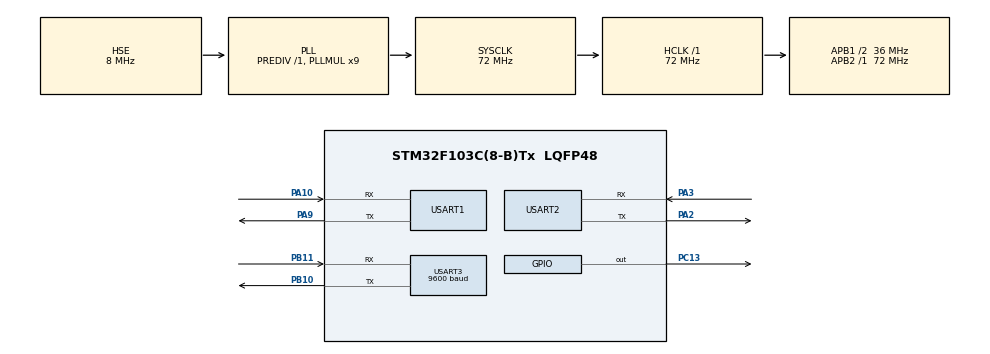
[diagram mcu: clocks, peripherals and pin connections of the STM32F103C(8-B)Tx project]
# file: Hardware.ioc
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Mcu.Family=STM32F1
Mcu.Name=STM32F103C(8-B)Tx
Mcu.Package=LQFP48
NVIC.PriorityGroup=NVIC_PRIORITYGROUP_4
NVIC.USART1_IRQn=true\:0\:0\:false\:false\:true\:true\:true\:true
NVIC.USART2_IRQn=true\:0\:0\:false\:false\:true\:true\:true\:true
NVIC.USART3_IRQn=true\:0\:0\:false\:false\:true\:true\:true\:true
PA10.Mode=Asynchronous
PA10.Signal=USART1_RX
PA13.Mode=Serial_Wire
PA13.Signal=SYS_JTMS-SWDIO
PA14.Mode=Serial_Wire
PA14.Signal=SYS_JTCK-SWCLK
PA2.Mode=Asynchronous
PA2.Signal=USART2_TX
PA3.Mode=Asynchronous
PA3.Signal=USART2_RX
PA9.Mode=Asynchronous
PA9.Signal=USART1_TX
PB10.Mode=Asynchronous
PB10.Signal=USART3_TX
PB11.Mode=Asynchronous
PB11.Signal=USART3_RX
PC13-TAMPER-RTC.Signal=GPIO_Output
PD0-OSC_IN.Mode=HSE-External-Oscillator
PD0-OSC_IN.Signal=RCC_OSC_IN
PD1-OSC_OUT.Mode=HSE-External-Oscillator
PD1-OSC_OUT.Signal=RCC_OSC_OUT
ProjectManager.HeapSize=0x200
ProjectManager.StackSize=0x400
ProjectManager.TargetToolchain=STM32CubeIDE
RCC.AHBFreq_Value=72000000
RCC.APB1CLKDivider=RCC_HCLK_DIV2
RCC.APB1Freq_Value=36000000
RCC.APB1TimFreq_Value=72000000
RCC.APB2Freq_Value=72000000
RCC.APB2TimFreq_Value=72000000
RCC.HCLKFreq_Value=72000000
RCC.PLLMUL=RCC_PLL_MUL9
RCC.PLLSourceVirtual=RCC_PLLSOURCE_HSE
RCC.SYSCLKFreq_VALUE=72000000
RCC.SYSCLKSource=RCC_SYSCLKSOURCE_PLLCLK
RCC.USBFreq_Value=72000000
USART1.VirtualMode=VM_ASYNC
USART2.VirtualMode=VM_ASYNC
USART3.BaudRate=9600
USART3.VirtualMode=VM_ASYNC
board=custom

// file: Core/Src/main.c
/* USER CODE BEGIN Header */
/**
  ******************************************************************************
  * @file           : main.c
  * @brief          : Main program body
  ******************************************************************************
  * @attention
  *
  * Copyright (c) 2025 STMicroelectronics.
  * All rights reserved.
  *
  * This software is licensed under terms that can be found in the LICENSE file
  * in the root directory of this software component.
  * If no LICENSE file comes with this software, it is provided AS-IS.
  *
  ******************************************************************************
  */
/* USER CODE END Header */
#include "main.h"

/* USER CODE BEGIN Includes */
#include "ESP8266_HAL.h"
#include "stdio.h"
/* USER CODE END Includes */

UART_HandleTypeDef huart1;
UART_HandleTypeDef huart2;
UART_HandleTypeDef huart3;

void SystemClock_Config(void);
static void MX_GPIO_Init(void);
static void MX_USART1_UART_Init(void);
static void MX_USART2_UART_Init(void);
static void MX_USART3_UART_Init(void);

/* USER CODE BEGIN 0 */
char msg[] = "hello world\r\n";
/* USER CODE END 0 */

int main(void)
{

  /* USER CODE BEGIN 1 */
	char json_data[] = "{"
	    "\"Sender\": \"+989123456789\","
	    "\"Message\": \"Test\""
	"}";

	char path[256];
  /* USER CODE END 1 */

  /* MCU Configuration--------------------------------------------------------*/

  /* Reset of all peripherals, Initializes the Flash interface and the Systick. */
  HAL_Init();

  /* Configure the system clock */
  SystemClock_Config();

  /* Initialize all configured peripherals */
  MX_GPIO_Init();
  MX_USART1_UART_Init();
  MX_USART2_UART_Init();
  MX_USART3_UART_Init();
  /* USER CODE BEGIN 2 */
  HAL_GPIO_TogglePin(GPIOC, GPIO_PIN_13);
  HAL_Delay(200); //
  HAL_GPIO_TogglePin(GPIOC, GPIO_PIN_13);
  HAL_Delay(200); //
  HAL_GPIO_TogglePin(GPIOC, GPIO_PIN_13);
  HAL_Delay(200); //
  HAL_GPIO_TogglePin(GPIOC, GPIO_PIN_13);
  HAL_Delay(200); //
  HAL_GPIO_TogglePin(GPIOC, GPIO_PIN_13);
  HAL_Delay(200); //
  HAL_GPIO_TogglePin(GPIOC, GPIO_PIN_13);
  HAL_Delay(200); //
  HAL_GPIO_TogglePin(GPIOC, GPIO_PIN_13);
  HAL_Delay(200); //
  HAL_GPIO_TogglePin(GPIOC, GPIO_PIN_13);
  HAL_Delay(200); //

  HAL_UART_Transmit(&huart2, "Check\r\n",7, HAL_MAX_DELAY);

  ESP_Init("Lightning", "dead43hunter");
  HAL_Delay(2000);
  /* USER CODE END 2 */

  /* Infinite loop */
  /* USER CODE BEGIN WHILE */
  while (1)
  {
	  HTTP_GET_Request("192.168.1.8", 8000, "/api/Receive?input=5");
      HAL_Delay(1000);

	    // ارسال POST به: http://192.168.1.3:8000/api/receive
	  //HTTP_POST_Request("192.168.1.3", 8000, "/api/Receive", json_data);
	  sprintf(path,
	      "/api/receive?Sender=989333333333&Message=Khoobi&SignalQuality=100");

	  HTTP_POST_Request("192.168.1.8", 8000, path); // بدنه خالی!
	  HAL_Delay(1000);

	  HAL_GPIO_TogglePin(GPIOC, GPIO_PIN_13);
	  HAL_Delay(1000);
    /* USER CODE END WHILE */

  }
}

void SystemClock_Config(void)
{
  RCC_OscInitTypeDef RCC_OscInitStruct = {0};
  RCC_ClkInitTypeDef RCC_ClkInitStruct = {0};

  /** Initializes the RCC Oscillators according to the specified parameters
  * in the RCC_OscInitTypeDef structure.
  */
  RCC_OscInitStruct.OscillatorType = RCC_OSCILLATORTYPE_HSE;
  RCC_OscInitStruct.HSEState = RCC_HSE_ON;
  RCC_OscInitStruct.HSEPredivValue = RCC_HSE_PREDIV_DIV1;
  RCC_OscInitStruct.HSIState = RCC_HSI_ON;
  RCC_OscInitStruct.PLL.PLLState = RCC_PLL_ON;
  RCC_OscInitStruct.PLL.PLLSource = RCC_PLLSOURCE_HSE;
  RCC_OscInitStruct.PLL.PLLMUL = RCC_PLL_MUL9;
  if (HAL_RCC_OscConfig(&RCC_OscInitStruct) != HAL_OK)
  {
    Error_Handler();
  }

  /** Initializes the CPU, AHB and APB buses clocks
  */
  RCC_ClkInitStruct.ClockType = RCC_CLOCKTYPE_HCLK|RCC_CLOCKTYPE_SYSCLK
                              |RCC_CLOCKTYPE_PCLK1|RCC_CLOCKTYPE_PCLK2;
  RCC_ClkInitStruct.SYSCLKSource = RCC_SYSCLKSOURCE_PLLCLK;
  RCC_ClkInitStruct.AHBCLKDivider = RCC_SYSCLK_DIV1;
  RCC_ClkInitStruct.APB1CLKDivider = RCC_HCLK_DIV2;
  RCC_ClkInitStruct.APB2CLKDivider = RCC_HCLK_DIV1;

  if (HAL_RCC_ClockConfig(&RCC_ClkInitStruct, FLASH_LATENCY_2) != HAL_OK)
  {
    Error_Handler();
  }
}

static void MX_USART1_UART_Init(void)
{

  huart1.Instance = USART1;
  huart1.Init.BaudRate = 115200;
  huart1.Init.WordLength = UART_WORDLENGTH_8B;
  huart1.Init.StopBits = UART_STOPBITS_1;
  huart1.Init.Parity = UART_PARITY_NONE;
  huart1.Init.Mode = UART_MODE_TX_RX;
  huart1.Init.HwFlowCtl = UART_HWCONTROL_NONE;
  huart1.Init.OverSampling = UART_OVERSAMPLING_16;
  if (HAL_UART_Init(&huart1) != HAL_OK)
  {
    Error_Handler();
  }

}

static void MX_USART2_UART_Init(void)
{

  huart2.Instance = USART2;
  huart2.Init.BaudRate = 115200;
  huart2.Init.WordLength = UART_WORDLENGTH_8B;
  huart2.Init.StopBits = UART_STOPBITS_1;
  huart2.Init.Parity = UART_PARITY_NONE;
  huart2.Init.Mode = UART_MODE_TX_RX;
  huart2.Init.HwFlowCtl = UART_HWCONTROL_NONE;
  huart2.Init.OverSampling = UART_OVERSAMPLING_16;
  if (HAL_UART_Init(&huart2) != HAL_OK)
  {
    Error_Handler();
  }

}

static void MX_USART3_UART_Init(void)
{

  huart3.Instance = USART3;
  huart3.Init.BaudRate = 9600;
  huart3.Init.WordLength = UART_WORDLENGTH_8B;
  huart3.Init.StopBits = UART_STOPBITS_1;
  huart3.Init.Parity = UART_PARITY_NONE;
  huart3.Init.Mode = UART_MODE_TX_RX;
  huart3.Init.HwFlowCtl = UART_HWCONTROL_NONE;
  huart3.Init.OverSampling = UART_OVERSAMPLING_16;
  if (HAL_UART_Init(&huart3) != HAL_OK)
  {
    Error_Handler();
  }

}

static void MX_GPIO_Init(void)
{
  GPIO_InitTypeDef GPIO_InitStruct = {0};

  /* GPIO Ports Clock Enable */
  __HAL_RCC_GPIOC_CLK_ENABLE();
  __HAL_RCC_GPIOD_CLK_ENABLE();
  __HAL_RCC_GPIOA_CLK_ENABLE();
  __HAL_RCC_GPIOB_CLK_ENABLE();

  /*Configure GPIO pin Output Level */
  HAL_GPIO_WritePin(GPIOC, GPIO_PIN_13, GPIO_PIN_RESET);

  /*Configure GPIO pin : PC13 */
  GPIO_InitStruct.Pin = GPIO_PIN_13;
  GPIO_InitStruct.Mode = GPIO_MODE_OUTPUT_PP;
  GPIO_InitStruct.Pull = GPIO_NOPULL;
  GPIO_InitStruct.Speed = GPIO_SPEED_FREQ_LOW;
  HAL_GPIO_Init(GPIOC, &GPIO_InitStruct);

}

void Error_Handler(void)
{
  __disable_irq();
  while (1)
  {
  }
}
